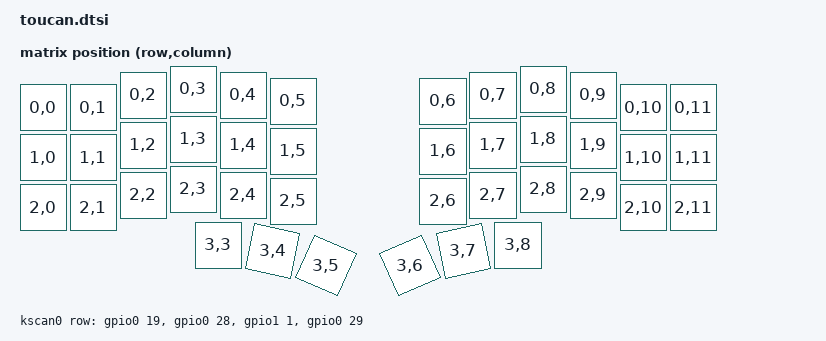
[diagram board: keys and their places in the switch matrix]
#include <input/processors.dtsi>
#include <dt-bindings/input/input-event-codes.h>
#include <dt-bindings/zmk/input_transform.h>
#include <dt-bindings/zmk/keys.h>
#include <dt-bindings/zmk/matrix_transform.h>
#include <physical_layouts.dtsi>

// The touchpad is an Azoteq TPS43 on I2C, at 0x74 on 1.13 SDA / 1.15 SCL with
// 1.14 RST and 0.02 RDY. The original 7-pin Cirque Pinnacle pad used those same
// four lines for SPI (SCK/MOSI/MISO/DR, CS on 0.03); it is not supported here.

// Gesture key bindings. Pick at most one; the default is macOS.
//   TOUCAN_WIN_MODE   Windows/Linux: Ctrl+- / Ctrl+= to zoom, Win+Tab / arrows
//   TOUCAN_NIRI_MODE  niri (Wayland): Super+Page_Up/Down for workspaces,
//                     Super+H/L for columns, Ctrl+- / Ctrl+= to zoom
//#define TOUCAN_WIN_MODE
//#define TOUCAN_NIRI_MODE

// Layers the pad keys off. The keymap is preprocessed on its own, so layer
// names are not visible here; these are the indices in config/toucan.keymap.
// Override them in a keymap that includes this file before it.
#ifndef TOUCAN_LAYER_NAV
#define TOUCAN_LAYER_NAV   1
#endif
#ifndef TOUCAN_LAYER_MOUSE
#define TOUCAN_LAYER_MOUSE 4
#endif

/ {
    chosen {
        zmk,kscan = &kscan0;
        zmk,physical-layout = &default_layout;
        //zmk,physical-layout = &physical_layout0;
    };

    kscan0: kscan_0 {
        compatible = "zmk,kscan-gpio-matrix";
        diode-direction = "col2row";
        wakeup-source;

    row-gpios
    = <&gpio0 19 (GPIO_ACTIVE_HIGH | GPIO_PULL_DOWN)>
    , <&gpio0 28 (GPIO_ACTIVE_HIGH | GPIO_PULL_DOWN)>
    , <&gpio1 1 (GPIO_ACTIVE_HIGH | GPIO_PULL_DOWN)>
    , <&gpio0 29 (GPIO_ACTIVE_HIGH | GPIO_PULL_DOWN)>
    ;
    };

    default_layout: default_layout {
        compatible = "zmk,physical-layout";
        display-name = "Default Layout";
        transform = <&default_transform>;

        keys  //                     w   h    x    y     rot    rx    ry
            = <&key_physical_attrs 100 100    0   37       0     0     0>
            , <&key_physical_attrs 100 100  100   37       0     0     0>
            , <&key_physical_attrs 100 100  200   12       0     0     0>
            , <&key_physical_attrs 100 100  300    0       0     0     0>
            , <&key_physical_attrs 100 100  400   12       0     0     0>
            , <&key_physical_attrs 100 100  500   24       0     0     0>
            , <&key_physical_attrs 100 100  800   24       0     0     0>
            , <&key_physical_attrs 100 100  900   12       0     0     0>
            , <&key_physical_attrs 100 100 1000    0       0     0     0>
            , <&key_physical_attrs 100 100 1100   12       0     0     0>
            , <&key_physical_attrs 100 100 1200   37       0     0     0>
            , <&key_physical_attrs 100 100 1300   37       0     0     0>
            , <&key_physical_attrs 100 100    0  137       0     0     0>
            , <&key_physical_attrs 100 100  100  137       0     0     0>
            , <&key_physical_attrs 100 100  200  112       0     0     0>
            , <&key_physical_attrs 100 100  300  100       0     0     0>
            , <&key_physical_attrs 100 100  400  112       0     0     0>
            , <&key_physical_attrs 100 100  500  124       0     0     0>
            , <&key_physical_attrs 100 100  800  124       0     0     0>
            , <&key_physical_attrs 100 100  900  112       0     0     0>
            , <&key_physical_attrs 100 100 1000  100       0     0     0>
            , <&key_physical_attrs 100 100 1100  112       0     0     0>
            , <&key_physical_attrs 100 100 1200  137       0     0     0>
            , <&key_physical_attrs 100 100 1300  137       0     0     0>
            , <&key_physical_attrs 100 100    0  237       0     0     0>
            , <&key_physical_attrs 100 100  100  237       0     0     0>
            , <&key_physical_attrs 100 100  200  212       0     0     0>
            , <&key_physical_attrs 100 100  300  200       0     0     0>
            , <&key_physical_attrs 100 100  400  212       0     0     0>
            , <&key_physical_attrs 100 100  500  224       0     0     0>
            , <&key_physical_attrs 100 100  800  224       0     0     0>
            , <&key_physical_attrs 100 100  900  212       0     0     0>
            , <&key_physical_attrs 100 100 1000  200       0     0     0>
            , <&key_physical_attrs 100 100 1100  212       0     0     0>
            , <&key_physical_attrs 100 100 1200  237       0     0     0>
            , <&key_physical_attrs 100 100 1300  237       0     0     0>
            , <&key_physical_attrs 100 100  350  312       0     0     0>
            , <&key_physical_attrs 100 100  450  312    1200   450   412>
            , <&key_physical_attrs 100 100  548  328    2400   548   433>
            , <&key_physical_attrs 100 100  752  328  (-2400)  852   433>
            , <&key_physical_attrs 100 100  850  312  (-1200)  950   412>
            , <&key_physical_attrs 100 100  950  312       0     0     0>
            ;
    };

    default_transform: keymap_transform_0 {
        compatible = "zmk,matrix-transform";
        columns = <12>;
        rows = <4>;
        // | SW1  | SW2  | SW3  | SW4  | SW5  | SW6  |   | SW6  | SW5  | SW4  | SW3  | SW2  | SW1  |
        // | SW7  | SW8  | SW9  | SW10 | SW11 | SW12 |   | SW12 | SW11 | SW10 | SW9  | SW8  | SW7  |
        // | SW13 | SW14 | SW15 | SW16 | SW17 | SW18 |   | SW18 | SW17 | SW16 | SW15 | SW14 | SW13 |
        //                      | SW19 | SW20 | SW21 |   | SW21 | SW20 | SW19 |
                map = <
        RC(0,0) RC(0,1) RC(0,2) RC(0,3) RC(0,4) RC(0,5)  RC(0,6) RC(0,7) RC(0,8) RC(0,9) RC(0,10) RC(0,11)
        RC(1,0) RC(1,1) RC(1,2) RC(1,3) RC(1,4) RC(1,5)  RC(1,6) RC(1,7) RC(1,8) RC(1,9) RC(1,10) RC(1,11)
        RC(2,0) RC(2,1) RC(2,2) RC(2,3) RC(2,4) RC(2,5)  RC(2,6) RC(2,7) RC(2,8) RC(2,9) RC(2,10) RC(2,11)
                                RC(3,3) RC(3,4) RC(3,5)  RC(3,6) RC(3,7) RC(3,8)
        >;
    };
};

/ {
    input_processors {
        // Pinch to zoom, as keystrokes.
        zip_zoom_mapper: zip_zoom_mapper {
            compatible = "zmk,input-processor-zoom";
            #input-processor-cells = <0>;
            event-code = <INPUT_REL_MISC>;
            sensitivity = <10>;
#if defined(TOUCAN_WIN_MODE) || defined(TOUCAN_NIRI_MODE)
            bindings = <&kp LC(MINUS)>, <&kp LC(EQUAL)>;
#else
            bindings = <&kp LG(MINUS)>, <&kp LG(EQUAL)>;
#endif
            track-remainders;
        };

        is_touching_processor: is_touching_processor {
            compatible = "zmk,input-processor-behaviors";
            #input-processor-cells = <0>;

            codes = <INPUT_BTN_TOUCH>;      // watch for the 'touch' pseudo button
            // Hold the MOUSE layer while a finger is on the pad, so the thumb
            // keys become the mouse buttons (see config/toucan.keymap).
            bindings = <&mo TOUCAN_LAYER_MOUSE>;
        };

        // Three-finger swipes.
        swipe_button_mapper: swipe_button_mapper {
            compatible = "zmk,input-processor-behaviors";
            #input-processor-cells = <0>;
            codes = <INPUT_BTN_NORTH INPUT_BTN_EAST INPUT_BTN_SOUTH INPUT_BTN_WEST>;
#if defined(TOUCAN_NIRI_MODE)
            bindings = <&kp LG(PAGE_UP)>, <&kp LG(L)>, <&kp LG(PAGE_DOWN)>, <&kp LG(H)>;
#elif defined(TOUCAN_WIN_MODE)
            bindings = <&kp LG(TAB)>, <&kp LG(RIGHT)>, <&kp LG(D)>, <&kp LG(LEFT)>;
#else
            bindings = <&kp LC(LG(UP))>, <&kp LC(LG(RIGHT))>, <&kp LC(LG(DOWN))>, <&kp LC(LG(LEFT))>;
#endif
        };
    };

    split_inputs {
        #address-cells = <1>;
        #size-cells = <0>;

        // On the peripheral this is bound to the pad; it forwards the pad's
        // events over the split link to the listener on the central.
        trackpad_split: trackpad_split@0 {
            compatible = "zmk,input-split";
            reg = <0>;
        };
    };

    trackpad_listener: trackpad_listener {
        compatible = "zmk,input-listener";
        status = "disabled";
        device = <&trackpad_split>;
        input-processors = <&zip_xy_scaler 100 100>, <&zip_scroll_scaler 1 20>,
                           <&zip_zoom_mapper>, <&is_touching_processor>,
                           <&swipe_button_mapper>;
        scroller {
            // Scroll on NAV only. On NAV the parent chain is replaced (no
            // 'process-next'), so resting a finger on the pad there does not
            // raise the MOUSE layer - movement becomes scrolling instead.
            layers = <TOUCAN_LAYER_NAV>;
            input-processors = <
                &zip_x_scaler 1 20
                &zip_xy_to_scroll_mapper
                &zip_scroll_scaler 1 5
                &zip_scroll_transform INPUT_TRANSFORM_Y_INVERT
            >;
        };
    };
};
